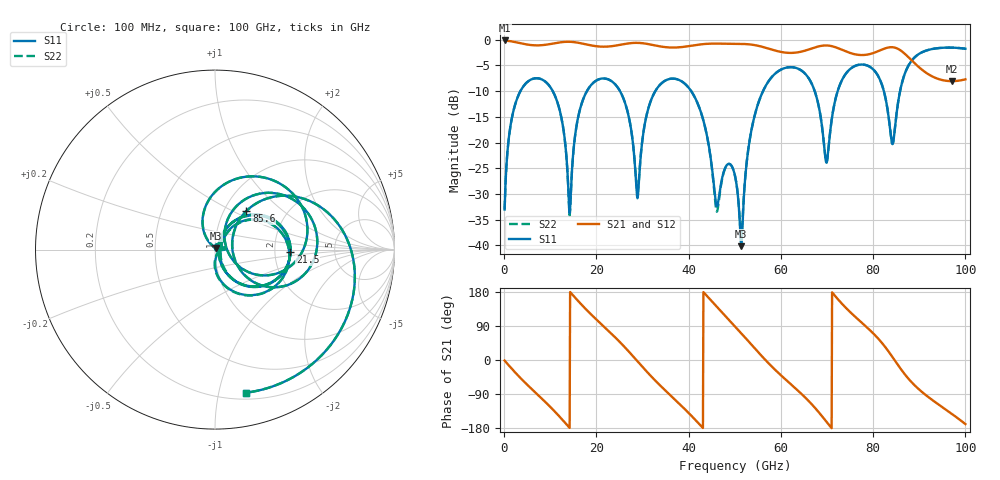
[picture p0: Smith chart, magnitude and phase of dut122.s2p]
! Touchstone file exported from HFSS 2026.1.0
!  File:  C:/ffzhzh/LocalFiles/Ansys_Project_Files/temp_train_TSV_RDL_122_1783459226_41684.aedt
!  Generated:  05:37:20 AM Jul  8, 2026
!  Design:  TSV_RDL
!  Project:  temp_train_TSV_RDL_122_1783459226_41684
! Variables:
!  h_bsmrdl = 2.97um
!  h_ox = 20um
!  h_rdl = 5um
!  h_sub = 93.98um
!  h_tmrdl = 3.15um
!  h_tsv = 93.98um
!  h_via = 3um
!  l_bsmrdl = 281.37um
!  l_sub = 4091.46um
!  l_tmrdl = 677.72um
!  m_sub = 200um
!  pitch = 45.27um
!  r_tsv = 7.86um
!  s_tmrdl = 10um
!  w_bsmrdl = 16.84um
!  w_sub = 500um
!  w_tmrdl = 28.65um
!  x_tsv_center1 = 692.045um
!  x_tsv_center2 = 990.255um
!  x_tsv_center3 = 1696.625um
!  x_tsv_center4 = 1994.835um
!  x_tsv_center5 = 2701.205um
!  x_tsv_center6 = 2999.415um
# GHz S MA R 50.000000
! Terminal data exported
! Port[1] = TM_RDL1_1_T1
! Port[2] = TM_RDL5_1_T1
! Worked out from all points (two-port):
!   1000 points, 100 MHz to 100 GHz, reference 50 ohm
!   highest |S21| = -0.16 dB at 100 MHz (marker M1); lowest = -8.1 dB at 97.1 GHz (marker M2)
!   |S21| within 3 dB of the highest: start of sweep to 87.36 GHz
!   lowest |S11| = -40.1 dB at 51.4 GHz (marker M3), VSWR 1.02, Z = 50.5 + j0.858 ohm
!   |S11| at or under -10 dB: 10.53 GHz to 17.95 GHz (7.423 GHz wide, 52.1 % of centre); 25.11 GHz to 32.78 GHz (7.675 GHz wide, 26.5 % of centre); 40.55 GHz to 56.13 GHz (15.59 GHz wide, 32.2 % of centre) (the widest 3 of 6)
!   |S22| runs from -38.7 to -1.6 dB; largest |S21 - S12| = 1.4e-12
!   S11 on the Smith chart (normalised r, x): 100 MHz: 1.04, +0.02; 21.5 GHz: 2.44, -0.09; 85.6 GHz: 1.27, +0.59; 100 GHz: 0.25, -1.21
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0.1  0.02232 31.9  0.9813 -1.5  0.9813 -1.5  0.02232 31.9
! Gamma 0 0 0 0
! Port Impedance 50 0 50 0
2.6  0.2512 48.5  0.9418 -35.6  0.9418 -35.6  0.2512 48.5
8.3  0.4075 -15.2  0.884 -103.4  0.884 -103.4  0.4076 -15.2
14.2  0.02056 -3.1  0.9525 -179.2  0.9525 -179.2  0.01958 -3.5
16.8  0.2385 49.5  0.9181 145.8  0.9181 145.8  0.2383 49.8
21.5  0.4194 -2.0  0.8536 89.7  0.8536 89.7  0.4192 -1.7
26.2  0.2435 -53.0  0.9075 33.2  0.9075 33.2  0.2436 -52.3
28.9  0.02875 -5.2  0.9298 -3.2  0.9298 -3.2  0.03184 -4.9
33.4  0.3475 24.0  0.8656 -62.1  0.8656 -62.1  0.3477 23.5
42.9  0.1823 -78.6  0.9017 -176.8  0.9017 -176.8  0.1818 -79.5
46.1  0.02396 -37.5  0.9145 140.7  0.9145 140.7  0.02129 -36.9
50.1  0.04628 -2.3  0.9101 88.1  0.9101 88.1  0.04645 0.2
51.4  0.009829 59.8  0.9085 70.7  0.9085 70.7  0.01155 60.8
56.4  0.3348 87.7  0.8407 3.2  0.8407 3.2  0.3348 87.6
66.7  0.3716 -20.9  0.8202 -116.9  0.8202 -116.9  0.3717 -20.8
69.9  0.06388 18.8  0.8774 -163.2  0.8774 -163.2  0.06391 18.8
75.3  0.5298 29.5  0.7346 123.2  0.7346 123.2  0.5297 29.7
83.4  0.1704 -38.0  0.8398 21.5  0.8398 21.5  0.1712 -37.6
85.6  0.2768 50.9  0.8037 -17.0  0.8037 -17.0  0.2768 50.8
91  0.7677 -2.7  0.4933 -88.5  0.4933 -88.5  0.7675 -2.7
97.1  0.8357 -52.9  0.3947 -142.6  0.3947 -142.6  0.8357 -52.8
100  0.8156 -77.9  0.4111 -169.1  0.4111 -169.1  0.8157 -77.8
